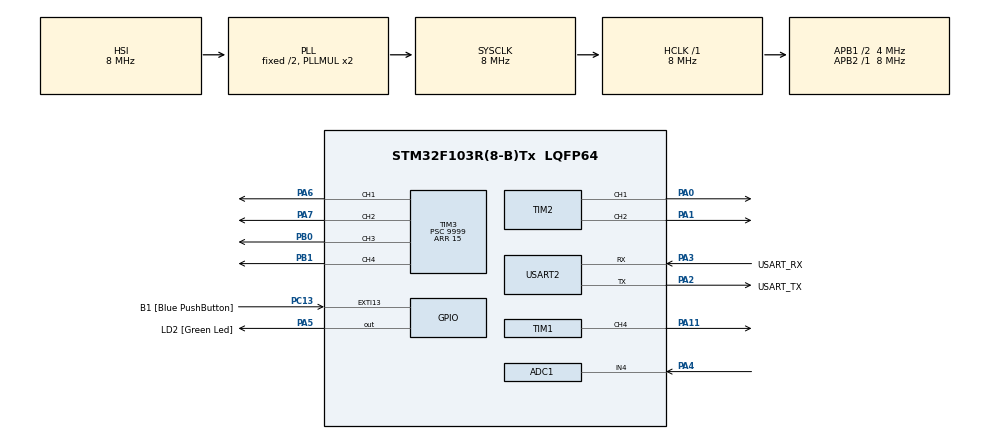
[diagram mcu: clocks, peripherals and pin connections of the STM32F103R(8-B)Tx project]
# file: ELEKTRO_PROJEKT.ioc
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ADC1.Channel-1\#ChannelRegularConversion=ADC_CHANNEL_4
ADC1.NbrOfConversionFlag=1
ADC1.Rank-1\#ChannelRegularConversion=1
ADC1.SamplingTime-1\#ChannelRegularConversion=ADC_SAMPLETIME_1CYCLE_5
ADC1.master=1
Mcu.Family=STM32F1
Mcu.Name=STM32F103R(8-B)Tx
Mcu.Package=LQFP64
NVIC.EXTI15_10_IRQn=true\:0\:0\:false\:false\:true\:true\:true
NVIC.PriorityGroup=NVIC_PRIORITYGROUP_4
PA0-WKUP.Signal=S_TIM2_CH1_ETR
PA1.Signal=S_TIM2_CH2
PA11.Signal=S_TIM1_CH4
PA13.GPIO_Label=TMS
PA13.Mode=Serial_Wire
PA13.Signal=SYS_JTMS-SWDIO
PA14.GPIO_Label=TCK
PA14.Mode=Serial_Wire
PA14.Signal=SYS_JTCK-SWCLK
PA2.GPIO_Label=USART_TX
PA2.GPIO_Mode=GPIO_MODE_AF_PP
PA2.GPIO_PuPd=GPIO_NOPULL
PA2.GPIO_Speed=GPIO_SPEED_FREQ_LOW
PA2.Mode=Asynchronous
PA2.Signal=USART2_TX
PA3.GPIO_Label=USART_RX
PA3.GPIO_Mode=GPIO_MODE_AF_PP
PA3.GPIO_PuPd=GPIO_NOPULL
PA3.GPIO_Speed=GPIO_SPEED_FREQ_LOW
PA3.Mode=Asynchronous
PA3.Signal=USART2_RX
PA4.Signal=ADCx_IN4
PA5.GPIO_Label=LD2 [Green Led]
PA5.GPIO_ModeDefaultOutputPP=GPIO_MODE_OUTPUT_PP
PA5.GPIO_PuPd=GPIO_NOPULL
PA5.GPIO_Speed=GPIO_SPEED_FREQ_LOW
PA5.Signal=GPIO_Output
PA6.Signal=S_TIM3_CH1
PA7.Signal=S_TIM3_CH2
PB0.Signal=S_TIM3_CH3
PB1.Signal=S_TIM3_CH4
PB3.GPIO_Label=SWO
PB3.Signal=SYS_JTDO-TRACESWO
PC13-TAMPER-RTC.GPIO_Label=B1 [Blue PushButton]
PC13-TAMPER-RTC.GPIO_PuPd=GPIO_NOPULL
PC13-TAMPER-RTC.Signal=GPXTI13
PC14-OSC32_IN.Mode=LSE-External-Oscillator
PC14-OSC32_IN.Signal=RCC_OSC32_IN
PC15-OSC32_OUT.Mode=LSE-External-Oscillator
PC15-OSC32_OUT.Signal=RCC_OSC32_OUT
PD0-OSC_IN.Mode=HSE-External-Clock-Source
PD0-OSC_IN.Signal=RCC_OSC_IN
PD1-OSC_OUT.Mode=HSE-External-Clock-Source
PD1-OSC_OUT.Signal=RCC_OSC_OUT
ProjectManager.HeapSize=0x200
ProjectManager.StackSize=0x400
ProjectManager.TargetToolchain=TrueSTUDIO
RCC.AHBFreq_Value=8000000
RCC.APB1CLKDivider=RCC_HCLK_DIV2
RCC.APB1Freq_Value=4000000
RCC.APB1TimFreq_Value=8000000
RCC.APB2Freq_Value=8000000
RCC.APB2TimFreq_Value=8000000
RCC.HCLKFreq_Value=8000000
RCC.RTCClockSelection=RCC_RTCCLKSOURCE_LSE
RCC.SYSCLKFreq_VALUE=8000000
RCC.SYSCLKSource=RCC_SYSCLKSOURCE_PLLCLK
RCC.USBFreq_Value=8000000
SH.ADCx_IN4.0=ADC1_IN4,IN4
SH.S_TIM1_CH4.0=TIM1_CH4,PWM Generation4 CH4
SH.S_TIM2_CH1_ETR.0=TIM2_CH1,PWM Generation1 CH1
SH.S_TIM2_CH2.0=TIM2_CH2,PWM Generation2 CH2
SH.S_TIM3_CH1.0=TIM3_CH1,PWM Generation1 CH1
SH.S_TIM3_CH2.0=TIM3_CH2,PWM Generation2 CH2
SH.S_TIM3_CH3.0=TIM3_CH3,PWM Generation3 CH3
SH.S_TIM3_CH4.0=TIM3_CH4,PWM Generation4 CH4
TIM1.Channel-PWM\ Generation4\ CH4=TIM_CHANNEL_4
TIM2.Channel-PWM\ Generation1\ CH1=TIM_CHANNEL_1
TIM2.Channel-PWM\ Generation2\ CH2=TIM_CHANNEL_2
TIM3.Channel-PWM\ Generation1\ CH1=TIM_CHANNEL_1
TIM3.Channel-PWM\ Generation2\ CH2=TIM_CHANNEL_2
TIM3.Channel-PWM\ Generation3\ CH3=TIM_CHANNEL_3
TIM3.Channel-PWM\ Generation4\ CH4=TIM_CHANNEL_4
TIM3.Period=15
TIM3.Prescaler=9999
USART2.VirtualMode=VM_ASYNC
VP_TIM1_VS_ClockSourceINT.Mode=Internal
VP_TIM2_VS_ClockSourceINT.Mode=Internal
VP_TIM3_VS_ClockSourceINT.Mode=Internal
board=NUCLEO-F103RB

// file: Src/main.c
/* USER CODE BEGIN Header */
/**
  ******************************************************************************
  * @file           : main.c
  * @brief          : Main program body
  ******************************************************************************
  * @attention
  *
  * <h2><center>&copy; Copyright (c) 2019 STMicroelectronics.
  * All rights reserved.</center></h2>
  *
  * This software component is licensed by ST under BSD 3-Clause license,
  * the "License"; You may not use this file except in compliance with the
  * License. You may obtain a copy of the License at:
  *                        opensource.org/licenses/BSD-3-Clause
  *
  ******************************************************************************
  */
/* USER CODE END Header */

#include "main.h"

ADC_HandleTypeDef hadc1;

TIM_HandleTypeDef htim1;
TIM_HandleTypeDef htim2;
TIM_HandleTypeDef htim3;

UART_HandleTypeDef huart2;

/* USER CODE BEGIN PV */
volatile uint8_t  value[24];
volatile uint32_t var=1500;
volatile uint32_t var2=1500;
volatile uint32_t serwo_2=1700;//serwomechanizm od zginania ramienia
volatile uint32_t serwo_grasper=1500;//serwo od obrotu chwytaka
volatile uint32_t serwo_obrot=1500;//serwo od obrotu chwytaka
volatile uint32_t serwo_podstawa_obrot=1500;//serwo do obrotu podstwy metalowej(calego ramienia)
volatile uint32_t grasper1=1500;
double Pressure;

/* USER CODE END PV */

void SystemClock_Config(void);
static void MX_GPIO_Init(void);
static void MX_ADC1_Init(void);
static void MX_TIM1_Init(void);
static void MX_TIM2_Init(void);
static void MX_TIM3_Init(void);
static void MX_USART2_UART_Init(void);

int main(void)
{

  /* MCU Configuration--------------------------------------------------------*/

  /* Reset of all peripherals, Initializes the Flash interface and the Systick. */
  HAL_Init();

  /* Configure the system clock */
  SystemClock_Config();

  /* Initialize all configured peripherals */
  MX_GPIO_Init();
  MX_ADC1_Init();
  MX_TIM1_Init();
  MX_TIM2_Init();
  MX_TIM3_Init();
  MX_USART2_UART_Init();
  /* USER CODE BEGIN 2 */

    HAL_TIM_PWM_Start(&htim3, TIM_CHANNEL_1);
    HAL_TIM_PWM_Start(&htim3, TIM_CHANNEL_2);
    HAL_TIM_PWM_Start(&htim3, TIM_CHANNEL_3);
    HAL_TIM_PWM_Start(&htim3, TIM_CHANNEL_4);
    HAL_TIM_PWM_Start(&htim1, TIM_CHANNEL_4);
    HAL_TIM_PWM_Start(&htim2, TIM_CHANNEL_1);
    HAL_TIM_PWM_Start(&htim2, TIM_CHANNEL_2);

  /* USER CODE END 2 */

  /* Infinite loop */
  /* USER CODE BEGIN WHILE */
  while (1)
  {
	 /* __HAL_TIM_SET_COMPARE(&htim2,TIM_CHANNEL_1,10000);
	  __HAL_TIM_SET_COMPARE(&htim2,TIM_CHANNEL_2,10000);
	  __HAL_TIM_SET_COMPARE(&htim3,TIM_CHANNEL_1,10000);
	  __HAL_TIM_SET_COMPARE(&htim3,TIM_CHANNEL_2,10000);
	  __HAL_TIM_SET_COMPARE(&htim3,TIM_CHANNEL_3,10000);
	  __HAL_TIM_SET_COMPARE(&htim3,TIM_CHANNEL_4,10000);
	  __HAL_TIM_SET_COMPARE(&htim1,TIM_CHANNEL_4,10000);*/

	  HAL_UART_Receive(&huart2, &value, 24, 20000); //odbieranie danych(odbior 24 bajtow)

	  		serwo_podstawa_obrot=1000*(value[0]-48)+100*(value[1]-48)+10*(value[2]-48)+1*(value[3]-48);//obrot podstawy
	  		__HAL_TIM_SET_COMPARE(&htim2, TIM_CHANNEL_1, serwo_podstawa_obrot);

	  		var=1000*(value[4]-48)+100*(value[5]-48)+10*(value[6]-48)+1*(value[7]-48);
	  		var2=3000-var;
	  		__HAL_TIM_SET_COMPARE(&htim2, TIM_CHANNEL_2, var);
	  		__HAL_TIM_SET_COMPARE(&htim3, TIM_CHANNEL_1, var2);

	  		serwo_2=1000*(value[8]-48)+100*(value[9]-48)+10*(value[10]-48)+1*(value[11]-48);
	  		__HAL_TIM_SET_COMPARE(&htim3, TIM_CHANNEL_2, serwo_2);

	  		serwo_grasper=1000*(value[12]-48)+100*(value[13]-48)+10*(value[14]-48)+1*(value[15]-48);
	  		if(serwo_grasper>8000)
	  		{
	  			serwo_grasper=serwo_grasper-9000;
	  		}
	  		__HAL_TIM_SET_COMPARE(&htim3, TIM_CHANNEL_3, serwo_grasper);

	  		serwo_obrot=1000*(value[16]-48)+100*(value[17]-48)+10*(value[18]-48)+1*(value[19]-48);
	  		__HAL_TIM_SET_COMPARE(&htim3, TIM_CHANNEL_4, serwo_obrot);

	  		grasper1=1000*(value[20]-48)+100*(value[21]-48)+10*(value[22]-48)+1*(value[23]-48);
	  		__HAL_TIM_SET_COMPARE(&htim1, TIM_CHANNEL_4, grasper1);

	  		//printf("serwo_podstawa_obrot[PB_01]=%d, var[PB_07]=%d, var2[PB_06]=%d, serwo_2[PA_07]=%d, serwo_grasper[PA_01]=%d, serwo_obrot[PB_00]=%d, grasper1[PA_06]=%d\r\n", serwo_podstawa_obrot, var, var2, serwo_2, serwo_grasper, serwo_obrot,grasper1);

	  		Pressure = sensor_measure();

    /* USER CODE END WHILE */

  }
}

void SystemClock_Config(void)
{
  RCC_OscInitTypeDef RCC_OscInitStruct = {0};
  RCC_ClkInitTypeDef RCC_ClkInitStruct = {0};
  RCC_PeriphCLKInitTypeDef PeriphClkInit = {0};

  /** Initializes the CPU, AHB and APB busses clocks
  */
  RCC_OscInitStruct.OscillatorType = RCC_OSCILLATORTYPE_HSI;
  RCC_OscInitStruct.HSIState = RCC_HSI_ON;
  RCC_OscInitStruct.HSICalibrationValue = RCC_HSICALIBRATION_DEFAULT;
  RCC_OscInitStruct.PLL.PLLState = RCC_PLL_ON;
  RCC_OscInitStruct.PLL.PLLSource = RCC_PLLSOURCE_HSI_DIV2;
  RCC_OscInitStruct.PLL.PLLMUL = RCC_PLL_MUL2;
  if (HAL_RCC_OscConfig(&RCC_OscInitStruct) != HAL_OK)
  {
    Error_Handler();
  }
  /** Initializes the CPU, AHB and APB busses clocks
  */
  RCC_ClkInitStruct.ClockType = RCC_CLOCKTYPE_HCLK|RCC_CLOCKTYPE_SYSCLK
                              |RCC_CLOCKTYPE_PCLK1|RCC_CLOCKTYPE_PCLK2;
  RCC_ClkInitStruct.SYSCLKSource = RCC_SYSCLKSOURCE_PLLCLK;
  RCC_ClkInitStruct.AHBCLKDivider = RCC_SYSCLK_DIV1;
  RCC_ClkInitStruct.APB1CLKDivider = RCC_HCLK_DIV2;
  RCC_ClkInitStruct.APB2CLKDivider = RCC_HCLK_DIV1;

  if (HAL_RCC_ClockConfig(&RCC_ClkInitStruct, FLASH_LATENCY_0) != HAL_OK)
  {
    Error_Handler();
  }
  PeriphClkInit.PeriphClockSelection = RCC_PERIPHCLK_ADC;
  PeriphClkInit.AdcClockSelection = RCC_ADCPCLK2_DIV2;
  if (HAL_RCCEx_PeriphCLKConfig(&PeriphClkInit) != HAL_OK)
  {
    Error_Handler();
  }
}

static void MX_ADC1_Init(void)
{

  ADC_ChannelConfTypeDef sConfig = {0};

  /** Common config
  */
  hadc1.Instance = ADC1;
  hadc1.Init.ScanConvMode = ADC_SCAN_DISABLE;
  hadc1.Init.ContinuousConvMode = DISABLE;
  hadc1.Init.DiscontinuousConvMode = DISABLE;
  hadc1.Init.ExternalTrigConv = ADC_SOFTWARE_START;
  hadc1.Init.DataAlign = ADC_DATAALIGN_RIGHT;
  hadc1.Init.NbrOfConversion = 1;
  if (HAL_ADC_Init(&hadc1) != HAL_OK)
  {
    Error_Handler();
  }
  /** Configure Regular Channel
  */
  sConfig.Channel = ADC_CHANNEL_4;
  sConfig.Rank = ADC_REGULAR_RANK_1;
  sConfig.SamplingTime = ADC_SAMPLETIME_1CYCLE_5;
  if (HAL_ADC_ConfigChannel(&hadc1, &sConfig) != HAL_OK)
  {
    Error_Handler();
  }

}

static void MX_TIM1_Init(void)
{

  TIM_ClockConfigTypeDef sClockSourceConfig = {0};
  TIM_MasterConfigTypeDef sMasterConfig = {0};
  TIM_OC_InitTypeDef sConfigOC = {0};
  TIM_BreakDeadTimeConfigTypeDef sBreakDeadTimeConfig = {0};

  htim1.Instance = TIM1;
  htim1.Init.Prescaler = 8-1;
  htim1.Init.CounterMode = TIM_COUNTERMODE_UP;
  htim1.Init.Period = 20000-1;
  htim1.Init.ClockDivision = TIM_CLOCKDIVISION_DIV1;
  htim1.Init.RepetitionCounter = 0;
  htim1.Init.AutoReloadPreload = TIM_AUTORELOAD_PRELOAD_DISABLE;
  if (HAL_TIM_Base_Init(&htim1) != HAL_OK)
  {
    Error_Handler();
  }
  sClockSourceConfig.ClockSource = TIM_CLOCKSOURCE_INTERNAL;
  if (HAL_TIM_ConfigClockSource(&htim1, &sClockSourceConfig) != HAL_OK)
  {
    Error_Handler();
  }
  if (HAL_TIM_PWM_Init(&htim1) != HAL_OK)
  {
    Error_Handler();
  }
  sMasterConfig.MasterOutputTrigger = TIM_TRGO_RESET;
  sMasterConfig.MasterSlaveMode = TIM_MASTERSLAVEMODE_DISABLE;
  if (HAL_TIMEx_MasterConfigSynchronization(&htim1, &sMasterConfig) != HAL_OK)
  {
    Error_Handler();
  }
  sConfigOC.OCMode = TIM_OCMODE_PWM1;
  sConfigOC.Pulse = 0;
  sConfigOC.OCPolarity = TIM_OCPOLARITY_HIGH;
  sConfigOC.OCFastMode = TIM_OCFAST_DISABLE;
  sConfigOC.OCIdleState = TIM_OCIDLESTATE_RESET;
  sConfigOC.OCNIdleState = TIM_OCNIDLESTATE_RESET;
  if (HAL_TIM_PWM_ConfigChannel(&htim1, &sConfigOC, TIM_CHANNEL_4) != HAL_OK)
  {
    Error_Handler();
  }
  sBreakDeadTimeConfig.OffStateRunMode = TIM_OSSR_DISABLE;
  sBreakDeadTimeConfig.OffStateIDLEMode = TIM_OSSI_DISABLE;
  sBreakDeadTimeConfig.LockLevel = TIM_LOCKLEVEL_OFF;
  sBreakDeadTimeConfig.DeadTime = 0;
  sBreakDeadTimeConfig.BreakState = TIM_BREAK_DISABLE;
  sBreakDeadTimeConfig.BreakPolarity = TIM_BREAKPOLARITY_HIGH;
  sBreakDeadTimeConfig.AutomaticOutput = TIM_AUTOMATICOUTPUT_DISABLE;
  if (HAL_TIMEx_ConfigBreakDeadTime(&htim1, &sBreakDeadTimeConfig) != HAL_OK)
  {
    Error_Handler();
  }
  HAL_TIM_MspPostInit(&htim1);

}

static void MX_TIM2_Init(void)
{

  TIM_ClockConfigTypeDef sClockSourceConfig = {0};
  TIM_MasterConfigTypeDef sMasterConfig = {0};
  TIM_OC_InitTypeDef sConfigOC = {0};

  htim2.Instance = TIM2;
  htim2.Init.Prescaler = 8-1;
  htim2.Init.CounterMode = TIM_COUNTERMODE_UP;
  htim2.Init.Period = 20000-1;
  htim2.Init.ClockDivision = TIM_CLOCKDIVISION_DIV1;
  htim2.Init.AutoReloadPreload = TIM_AUTORELOAD_PRELOAD_DISABLE;
  if (HAL_TIM_Base_Init(&htim2) != HAL_OK)
  {
    Error_Handler();
  }
  sClockSourceConfig.ClockSource = TIM_CLOCKSOURCE_INTERNAL;
  if (HAL_TIM_ConfigClockSource(&htim2, &sClockSourceConfig) != HAL_OK)
  {
    Error_Handler();
  }
  if (HAL_TIM_PWM_Init(&htim2) != HAL_OK)
  {
    Error_Handler();
  }
  sMasterConfig.MasterOutputTrigger = TIM_TRGO_RESET;
  sMasterConfig.MasterSlaveMode = TIM_MASTERSLAVEMODE_DISABLE;
  if (HAL_TIMEx_MasterConfigSynchronization(&htim2, &sMasterConfig) != HAL_OK)
  {
    Error_Handler();
  }
  sConfigOC.OCMode = TIM_OCMODE_PWM1;
  sConfigOC.Pulse = 0;
  sConfigOC.OCPolarity = TIM_OCPOLARITY_HIGH;
  sConfigOC.OCFastMode = TIM_OCFAST_DISABLE;
  if (HAL_TIM_PWM_ConfigChannel(&htim2, &sConfigOC, TIM_CHANNEL_1) != HAL_OK)
  {
    Error_Handler();
  }
  if (HAL_TIM_PWM_ConfigChannel(&htim2, &sConfigOC, TIM_CHANNEL_2) != HAL_OK)
  {
    Error_Handler();
  }
  HAL_TIM_MspPostInit(&htim2);

}

static void MX_TIM3_Init(void)
{

  TIM_ClockConfigTypeDef sClockSourceConfig = {0};
  TIM_MasterConfigTypeDef sMasterConfig = {0};
  TIM_OC_InitTypeDef sConfigOC = {0};

  htim3.Instance = TIM3;
  htim3.Init.Prescaler = 8-1;
  htim3.Init.CounterMode = TIM_COUNTERMODE_UP;
  htim3.Init.Period = 20000-1;
  htim3.Init.ClockDivision = TIM_CLOCKDIVISION_DIV1;
  htim3.Init.AutoReloadPreload = TIM_AUTORELOAD_PRELOAD_DISABLE;
  if (HAL_TIM_Base_Init(&htim3) != HAL_OK)
  {
    Error_Handler();
  }
  sClockSourceConfig.ClockSource = TIM_CLOCKSOURCE_INTERNAL;
  if (HAL_TIM_ConfigClockSource(&htim3, &sClockSourceConfig) != HAL_OK)
  {
    Error_Handler();
  }
  if (HAL_TIM_PWM_Init(&htim3) != HAL_OK)
  {
    Error_Handler();
  }
  sMasterConfig.MasterOutputTrigger = TIM_TRGO_RESET;
  sMasterConfig.MasterSlaveMode = TIM_MASTERSLAVEMODE_DISABLE;
  if (HAL_TIMEx_MasterConfigSynchronization(&htim3, &sMasterConfig) != HAL_OK)
  {
    Error_Handler();
  }
  sConfigOC.OCMode = TIM_OCMODE_PWM1;
  sConfigOC.Pulse = 9;
  sConfigOC.OCPolarity = TIM_OCPOLARITY_HIGH;
  sConfigOC.OCFastMode = TIM_OCFAST_DISABLE;
  if (HAL_TIM_PWM_ConfigChannel(&htim3, &sConfigOC, TIM_CHANNEL_1) != HAL_OK)
  {
    Error_Handler();
  }
  sConfigOC.Pulse = 0;
  if (HAL_TIM_PWM_ConfigChannel(&htim3, &sConfigOC, TIM_CHANNEL_2) != HAL_OK)
  {
    Error_Handler();
  }
  if (HAL_TIM_PWM_ConfigChannel(&htim3, &sConfigOC, TIM_CHANNEL_3) != HAL_OK)
  {
    Error_Handler();
  }
  if (HAL_TIM_PWM_ConfigChannel(&htim3, &sConfigOC, TIM_CHANNEL_4) != HAL_OK)
  {
    Error_Handler();
  }
  HAL_TIM_MspPostInit(&htim3);

}

static void MX_USART2_UART_Init(void)
{

  huart2.Instance = USART2;
  huart2.Init.BaudRate = 115200;
  huart2.Init.WordLength = UART_WORDLENGTH_8B;
  huart2.Init.StopBits = UART_STOPBITS_1;
  huart2.Init.Parity = UART_PARITY_NONE;
  huart2.Init.Mode = UART_MODE_TX_RX;
  huart2.Init.HwFlowCtl = UART_HWCONTROL_NONE;
  huart2.Init.OverSampling = UART_OVERSAMPLING_16;
  if (HAL_UART_Init(&huart2) != HAL_OK)
  {
    Error_Handler();
  }

}

static void MX_GPIO_Init(void)
{
  GPIO_InitTypeDef GPIO_InitStruct = {0};

  /* GPIO Ports Clock Enable */
  __HAL_RCC_GPIOC_CLK_ENABLE();
  __HAL_RCC_GPIOD_CLK_ENABLE();
  __HAL_RCC_GPIOA_CLK_ENABLE();
  __HAL_RCC_GPIOB_CLK_ENABLE();

  /*Configure GPIO pin Output Level */
  HAL_GPIO_WritePin(LD2_GPIO_Port, LD2_Pin, GPIO_PIN_RESET);

  /*Configure GPIO pin : B1_Pin */
  GPIO_InitStruct.Pin = B1_Pin;
  GPIO_InitStruct.Mode = GPIO_MODE_IT_RISING;
  GPIO_InitStruct.Pull = GPIO_NOPULL;
  HAL_GPIO_Init(B1_GPIO_Port, &GPIO_InitStruct);

  /*Configure GPIO pin : LD2_Pin */
  GPIO_InitStruct.Pin = LD2_Pin;
  GPIO_InitStruct.Mode = GPIO_MODE_OUTPUT_PP;
  GPIO_InitStruct.Pull = GPIO_NOPULL;
  GPIO_InitStruct.Speed = GPIO_SPEED_FREQ_LOW;
  HAL_GPIO_Init(LD2_GPIO_Port, &GPIO_InitStruct);

  /* EXTI interrupt init*/
  HAL_NVIC_SetPriority(EXTI15_10_IRQn, 0, 0);
  HAL_NVIC_EnableIRQ(EXTI15_10_IRQn);

}

void Error_Handler(void)
{
}

/************************ (C) COPYRIGHT STMicroelectronics *****END OF FILE****/
